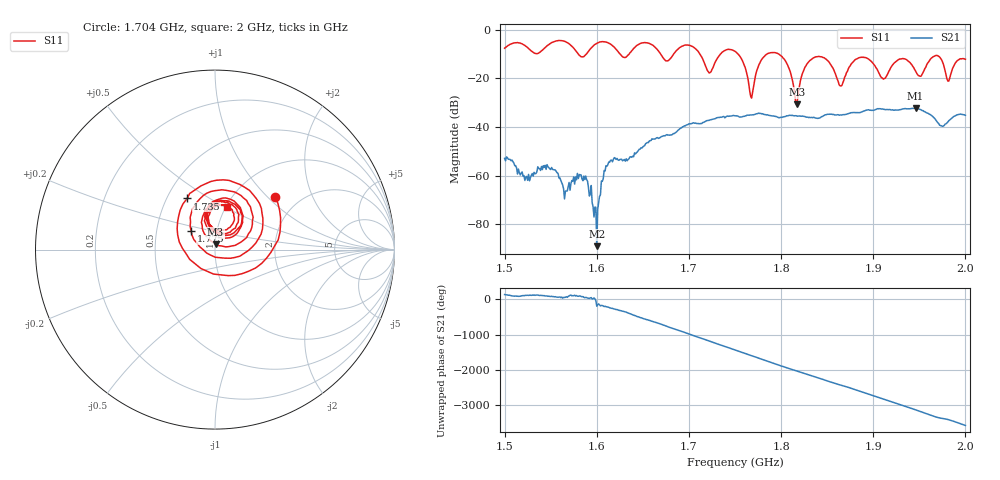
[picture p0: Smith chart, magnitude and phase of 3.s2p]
! NanoVNA-App by SYSJOINT et al v1.1.209 (+OD18)
! Date: 2026-01-21 14:44:14
! Start: 1,5GHz Stop: 2GHz Points: 501
! S-Parameter data: F S11 S21 S12 S22
# Hz S RI R 50
!  Frequency  S11_Real  S11_Imag  S21_Real  S21_Imag  S12_Real  S12_Imag  S22_Real  S22_Imag
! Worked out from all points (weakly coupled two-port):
!   501 points, 1.5 GHz to 2 GHz, reference 50 ohm
!   highest |S21| = -32.35 dB at 1.946 GHz (marker M1); lowest = -89.0 dB at 1.6 GHz (marker M2)
!   lowest |S11| = -30.7 dB at 1.817 GHz (marker M3), VSWR 1.06, Z = 50.2 + j2.93 ohm
!   |S11| at or under -10 dB: 1.712 GHz to 1.734 GHz (22.63 MHz wide, 1.31 % of centre); 1.753 GHz to 1.785 GHz (31.79 MHz wide, 1.8 % of centre); 1.797 GHz to end of sweep (the widest 3 of 6)
!   S12 and S22 are empty: the file has one direction only
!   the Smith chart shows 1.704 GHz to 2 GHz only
!   S11 on the Smith chart (normalised r, x): 1.704 GHz: 1.52, +1.12; 1.735 GHz: 0.63, +0.40; 1.775 GHz: 0.75, +0.16; 2 GHz: 1.02, +0.51
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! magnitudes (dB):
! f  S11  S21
! 1.5 GHz  -7.7  -52.9
! 1.553 GHz  -5.1  -57.6
! 1.566 GHz  -5.0  -66.4
! 1.584 GHz  -11.2  -61.4
! 1.6 GHz  -5.7  -89.0
! 1.614 GHz  -5.7  -54.5
! 1.667 GHz  -8.8  -44.7
! 1.704 GHz  -7.0  -38.5
! 1.722 GHz  -17.8  -37.3
! 1.735 GHz  -9.8  -36.0
! 1.75 GHz  -8.9  -35.4
! 1.767 GHz  -27.4  -35.1
! 1.775 GHz  -15.5  -34.5
! 1.799 GHz  -10.5  -36.1
! 1.817 GHz  -30.7  -35.5
! 1.834 GHz  -11.9  -36.2
! 1.865 GHz  -23.2  -35.1
! 1.885 GHz  -11.5  -34.1
! 1.917 GHz  -17.1  -32.9
! 1.946 GHz  -17.1  -32.3
! 1.982 GHz  -21.2  -37.5
! 2 GHz  -12.2  -35.2
